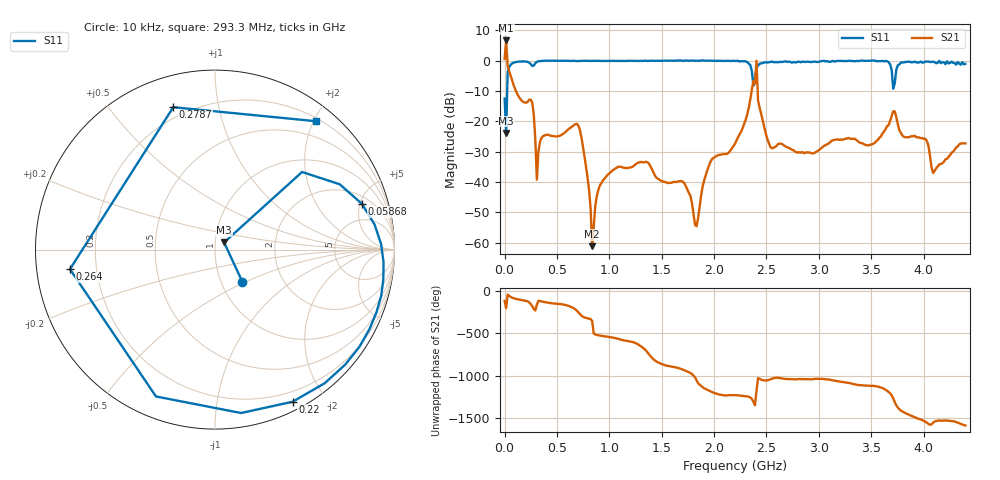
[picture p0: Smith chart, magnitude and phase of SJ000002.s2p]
!File created by NanoVNA-F V2
# Hz S RI R 50
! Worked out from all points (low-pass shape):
!   301 points, 10 kHz to 4.4 GHz, reference 50 ohm
!   highest |S21| = 6.63 dB at 14.68 MHz (marker M1); lowest = -61.1 dB at 836 MHz (marker M2)
!   |S21| within 3 dB of the highest: 7.427 MHz to 19.86 MHz (12.43 MHz wide, 91.1 % of centre)
!   lowest |S11| = -23.8 dB at 14.68 MHz (marker M3), VSWR 1.14, Z = 55.2 + j4.42 ohm
!   |S11| at or under -10 dB: start of sweep to 24.77 MHz
!   S12 and S22 are empty: the file has one direction only
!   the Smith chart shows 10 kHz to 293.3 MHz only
!   S11 on the Smith chart (normalised r, x): 10 kHz: 1.26, -0.48; 58.68 MHz: 2.71, +5.21; 220 MHz: 0.09, -1.63; 264 MHz: 0.10, -0.07; 278.7 MHz: 0.15, +0.74; 293.3 MHz: 0.24, +2.04
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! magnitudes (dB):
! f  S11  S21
! 10 kHz  -12.5  0.6
! 14.68 MHz  -23.8  6.6
! 29.34 MHz  -3.7  -1.9
! 58.68 MHz  -1.3  -5.2
! 220 MHz  -0.4  -13.6
! 264 MHz  -1.8  -13.8
! 278.7 MHz  -1.7  -17.8
! 293.3 MHz  -0.8  -26.0
! 308 MHz  -0.4  -39.2
! 366.7 MHz  -0.1  -24.9
! 733.3 MHz  -0.1  -25.2
! 836 MHz  -0.1  -61.1
! 982.7 MHz  -0.1  -37.6
! 1.467 GHz  0.0  -38.9
! 1.833 GHz  0.0  -54.5
! 2.2 GHz  -0.1  -27.4
! 2.405 GHz  -2.5  -0.1
! 2.537 GHz  -0.5  -28.4
! 2.933 GHz  -0.5  -30.5
! 3.667 GHz  -0.5  -21.3
! 4.092 GHz  -0.4  -37.0
! 4.4 GHz  -1.1  -27.3
